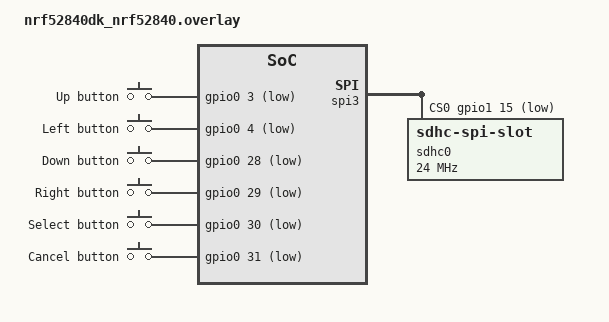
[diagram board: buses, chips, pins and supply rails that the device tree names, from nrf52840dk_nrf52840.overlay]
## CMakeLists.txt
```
# Minimum CMake version
cmake_minimum_required(VERSION 3.20.0)

# Locate the Zephyr RTOS source, ZEPHYR_BASE must be set in env.
find_package(Zephyr REQUIRED HINTS $ENV{ZEPHYR_BASE})

# Name the project
project(nrf_mp3)

# Locate the source code for the application
target_sources(app PRIVATE 
    src/main.c
    src/buttons_and_leds/lbs.c
    src/states/fs_nav.c
    src/states/bt_menu.c
)
```

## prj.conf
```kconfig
CONFIG_GPIO=y
CONFIG_INPUT=y

# Filesystem stuff
CONFIG_DISK_ACCESS=y
CONFIG_DISK_DRIVER_SDMMC=y
CONFIG_LOG=y
CONFIG_FILE_SYSTEM=y
CONFIG_FAT_FILESYSTEM_ELM=y
CONFIG_PRINTK=y
CONFIG_MAIN_STACK_SIZE=2048
# Important for longer names and filesystem navigation to work properly
CONFIG_FS_FATFS_LFN=y
CONFIG_INPUT_THREAD_STACK_SIZE=4098

# Bluetooth Stack (Single SoC, Host and Controller configuration)
CONFIG_BT=y
CONFIG_BT_HCI=y
# Board will act as a GAP Central, scanning for the earbud and initiate the
# connection. 
CONFIG_BT_CENTRAL=y
CONFIG_BT_CTLR_ADV_EXT=y
CONFIG_BT_EXT_ADV=y
CONFIG_BT_CONN_CHECK_NULL_BEFORE_CREATE=y
# bt_gatt_discover
CONFIG_BT_GATT_CLIENT=y
CONFIG_BT_HCI_ERR_TO_STR=y
# Allows pairing (remember connections)
# CONFIG_BT_SMP=y

# LE Audio
# CONFIG_BT_AUDIO=y

CONFIG_DEBUG=y
# CONFIG_SD_LOG_LEVEL_DBG=y
# CONFIG_SDHC_LOG_LEVEL_DBG=y
# CONFIG_SDMMC_LOG_LEVEL_DBG=y
```

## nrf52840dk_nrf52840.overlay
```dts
&i2c0 {
	status = "disabled";
};

&spi0 {
	status = "disabled";
};

&spi1 {
	status = "disabled";
};

&spi3 {
	status = "okay";
	cs-gpios = <&gpio1 15 GPIO_ACTIVE_LOW>;

	sdhc0: sdhc@0 {
		compatible = "zephyr,sdhc-spi-slot";
		reg = <0>;
		status = "okay";
		mmc {
			compatible = "zephyr,sdmmc-disk";
			disk-name = "SD";
			status = "okay";
		};

		spi-max-frequency = <24000000>;
	};
};

&pwm0 {
	status = "disabled";
};

/ {

	/delete-node/ buttons;

	buttons {
		compatible = "gpio-keys";
		ext_button0: ext_button0 {
			label = "Up button";
			gpios = <&gpio0 3 (GPIO_ACTIVE_LOW | GPIO_PULL_UP)>;
			zephyr,code = < INPUT_KEY_UP >;
		};
		ext_button1: ext_button1 {
			label = "Left button";
			gpios = <&gpio0 4 (GPIO_ACTIVE_LOW | GPIO_PULL_UP)>;
			zephyr,code = < INPUT_KEY_LEFT >;
		};
		ext_button2: ext_button2 {
			label = "Down button";
			gpios = <&gpio0 28 (GPIO_ACTIVE_LOW | GPIO_PULL_UP)>;
			zephyr,code = < INPUT_KEY_DOWN >;
		};
		ext_button3: ext_button3 {
			label = "Right button";
			gpios = <&gpio0 29 (GPIO_ACTIVE_LOW | GPIO_PULL_UP)>;
			zephyr,code = < INPUT_KEY_RIGHT >;
		};
		ext_button4: ext_button4 {
			label = "Select button";
			gpios = <&gpio0 30 (GPIO_ACTIVE_LOW | GPIO_PULL_UP)>;
			zephyr,code = < INPUT_KEY_ENTER >;
		};
		ext_button5: ext_button5 {
			label = "Cancel button";
			gpios = <&gpio0 31 (GPIO_ACTIVE_LOW | GPIO_PULL_UP)>;
			zephyr,code = < INPUT_KEY_BACK >;
		};
		
	};

	aliases {
		ext-button0 = &ext_button0;
		ext-button1 = &ext_button1;
		ext-button2 = &ext_button2;
		ext-button3 = &ext_button3;
		ext-button4 = &ext_button4;
		ext-button5 = &ext_button5;
		/delete-property/ mcuboot-button0;
		/delete-property/ sw0;
		/delete-property/ sw1;
		/delete-property/ sw2;
		/delete-property/ sw3;
	};
};

&spi3_default {
	group1 {
		psels = <NRF_PSEL(SPIM_SCK, 0, 2)>,
				<NRF_PSEL(SPIM_MISO, 0, 27)>,
				<NRF_PSEL(SPIM_MOSI, 0, 26)>;
	};
};

&spi3_sleep {
	group1 {
		psels = <NRF_PSEL(SPIM_SCK, 0, 2)>,
				<NRF_PSEL(SPIM_MISO, 0, 27)>,
				<NRF_PSEL(SPIM_MOSI, 0, 26)>;
	};
};
```

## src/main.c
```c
#include <zephyr/kernel.h>
#include <zephyr/device.h>
#include <zephyr/devicetree.h>
#include <zephyr/drivers/gpio.h>

/* Custom library includes */
#include "states/fs_nav.h"
#include "buttons_and_leds/lbs.h"

#define SLEEP_TIME_MS 1000

/* Do any hardware/software initializations or checks within this function. */
int setup(void) {
    if (lbs_check()) {
        return -1;
    }
    if (fs_check()) {
        return -1;
    }
    return 0;
}

int main(void)
{
    if(setup()) {
        printk("error: setup(): device initialization\n");
        return -1;
    }

    fs_enter();

    while (1) {
        gpio_pin_toggle_dt(&status_led0);        
        k_msleep(SLEEP_TIME_MS);
    }
}
```
